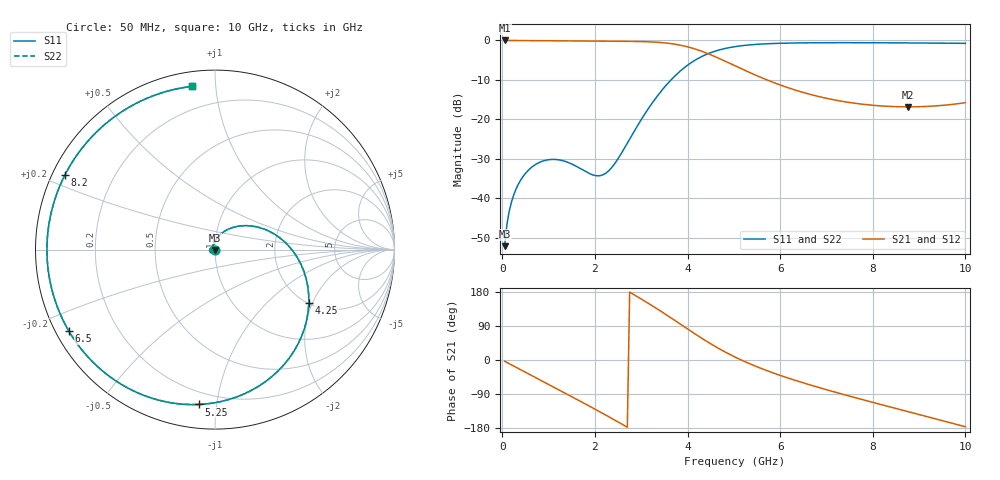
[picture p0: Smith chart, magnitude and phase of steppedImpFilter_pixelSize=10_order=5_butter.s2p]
! freq	dB(S11)	phase(S11)	dB(S12)	phase(S12)
!  dB(S21)	phase(S21)	dB(S22)	phase(S22)
!S-par simulation data
#  GHz  S  DB  R 50
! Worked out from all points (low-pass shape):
!   200 points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, 50 MHz to 10 GHz, reference 50 ohm
!   highest |S21| = -0.01 dB at 50 MHz (marker M1); lowest = -16.8 dB at 8.75 GHz (marker M2)
!   |S21| within 3 dB of the highest: start of sweep to 4.367 GHz
!   lowest |S11| = -52.1 dB at 50 MHz (marker M3), VSWR 1.00, Z = 50 - j0.245 ohm
!   |S11| at or under -10 dB: start of sweep to 3.644 GHz
!   |S22| runs from -52.1 to -0.6 dB; largest |S21 - S12| = 0
!   S11 on the Smith chart (normalised r, x): 50 MHz: 1.00, -0.00; 4.25 GHz: 2.02, -1.88; 5.25 GHz: 0.13, -0.89; 6.5 GHz: 0.04, -0.26; 8.2 GHz: 0.04, +0.23; 10 GHz: 0.08, +0.87
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0.05  -52.15 -83.5  -0.01 -3.3  -0.01 -3.3  -52.15 -83.5
0.1  -46.63 -91.2  -0.01 -6.5  -0.01 -6.5  -46.63 -91.2
0.2  -40.89 -100.9  -0.02 -12.9  -0.02 -12.9  -40.89 -100.9
0.55  -33.05 -126.4  -0.05 -35.3  -0.05 -35.3  -33.05 -126.4
1.15  -30.17 -167.0  -0.09 -73.9  -0.09 -73.9  -30.17 -166.9
1.75  -32.91 150.9  -0.13 -113.0  -0.13 -113.0  -32.91 151.0
2.2  -33.91 118.4  -0.17 -143.0  -0.17 -143.0  -33.91 118.5
2.65  -27.04 90.6  -0.22 -173.9  -0.22 -173.9  -27.04 90.6
3  -20.06 67.5  -0.29 161.0  -0.29 161.0  -20.06 67.5
3.4  -13.31 38.2  -0.51 130.6  -0.51 130.6  -13.31 38.2
3.8  -8.21 6.6  -1.10 98.4  -1.10 98.4  -8.21 6.6
4.25  -4.42 -29.6  -2.50 61.9  -2.50 61.9  -4.42 -29.6
4.6  -2.70 -55.7  -4.13 35.6  -4.13 35.6  -2.70 -55.7
5.05  -1.53 -84.7  -6.56 6.3  -6.56 6.3  -1.53 -84.7
5.25  -1.23 -96.0  -7.64 -5.0  -7.64 -5.0  -1.23 -96.0
5.9  -0.76 -127.1  -10.85 -36.3  -10.85 -36.3  -0.76 -127.1
6.5  -0.61 -150.8  -13.19 -60.4  -13.19 -60.4  -0.61 -150.8
6.7  -0.59 -157.9  -13.83 -67.7  -13.83 -67.7  -0.59 -157.9
8.2  -0.60 153.5  -16.62 -118.3  -16.62 -118.3  -0.60 153.5
8.35  -0.60 148.9  -16.72 -123.1  -16.72 -123.1  -0.60 148.9
8.75  -0.63 136.7  -16.83 -136.0  -16.83 -136.0  -0.63 136.7
10  -0.74 97.9  -15.77 -176.2  -15.77 -176.2  -0.74 97.9
